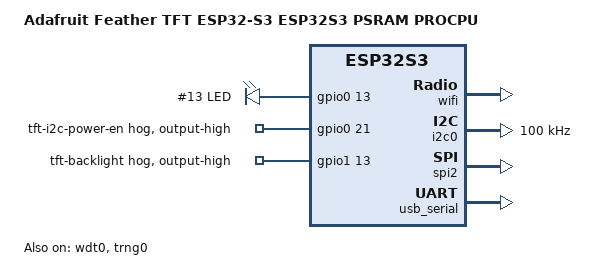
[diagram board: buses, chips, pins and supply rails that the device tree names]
/*
 * Copyright (c) 2022 Espressif Systems (Shanghai) Co., Ltd.
 * Copyright (c) 2025 Sam Blenny
 *
 * SPDX-License-Identifier: Apache-2.0
 *
 * Derived from zephyr/boards/espressif/esp32s3_devkitm
 * Modifications by Sam Blenny to work with Feather TFT ESP32-S3
 *
 * For ESP32-S3 pinctrl selectors, see:
 *   https://github.com/zephyrproject-rtos/zephyr/blob/main/include/zephyr/dt-bindings/pinctrl/esp32s3-pinctrl.h
 * For espressif soc dtsi files, see:
 *   https://github.com/zephyrproject-rtos/zephyr/tree/main/dts/xtensa/espressif/esp32s3
 */
/dts-v1/;

#include <espressif/esp32s3/esp32s3_mini_n4r2.dtsi>
#include <zephyr/dt-bindings/input/input-event-codes.h>
#include <zephyr/dt-bindings/input/esp32-touch-sensor-input.h>
#include <espressif/partitions_0x0_amp.dtsi>
#include "feather_tft_esp32s3-pinctrl.dtsi"
#include "feather_connector.dtsi"
#include "mipi_st7789v.dtsi"
#include "buttons.dtsi"

/ {
	model = "Adafruit Feather TFT ESP32-S3 ESP32S3 PSRAM PROCPU";
	compatible = "espressif,esp32s3";

	aliases {
		i2c-0 = &i2c0;
		watchdog0 = &wdt0;
	};

	chosen {
		zephyr,sram = &sram1;
		zephyr,console = &usb_serial;
		zephyr,shell-uart = &usb_serial;
		zephyr,flash = &flash0;
		zephyr,code-partition = &slot0_partition;
	};

	leds {
		compatible = "gpio-leds";
		led: led_0 {
			gpios = <&gpio0 13 GPIO_ACTIVE_HIGH>;
			label = "#13 LED";
		};
	};

	aliases {
		uart-0 = &usb_serial;
		led0 = &led;
	};
};

&wifi {
	status = "okay";
};

&uart0 {
	status = "disabled";
	current-speed = <115200>;
	pinctrl-0 = <&uart0_default>;
	pinctrl-names = "default";
};

/* GPIO pins 0..31 */
&gpio0 {
	status = "okay";

	/* GPIO21 is the Feather TFT ESP23-S3 TFT_I2C_POWER enable pin */
	tft-i2c-power-en {
		gpio-hog;
		gpios = <21 GPIO_ACTIVE_HIGH>;
		output-high;
	};
};

/* GPIO pins 32..45 -> &gpio1 0 .. &gpio1 13 */
&gpio1 {
	status = "okay";

	/* GPIO45 (&gpio1 13) is Feather TFT backlight pin */
	tft-backlight {
		gpio-hog;
		gpios = <13 GPIO_ACTIVE_HIGH>;
		output-high;
	};
};

&i2c0 {
	clock-frequency = <I2C_BITRATE_STANDARD>;
	pinctrl-0 = <&i2c0_default>;
	pinctrl-names = "default";
};

&spi2 {
	#address-cells = <1>;
	#size-cells = <0>;
	status = "okay";
	cs-gpios = <&gpio0 7 GPIO_ACTIVE_LOW>;  /* TFT_CS */
	pinctrl-0 = <&spim2_default>;
	pinctrl-names = "default";
};

&timer0 {
	status = "disabled";
};

&timer1 {
	status = "disabled";
};

&timer2 {
	status = "disabled";
};

&timer3 {
	status = "disabled";
};

&wdt0 {
	status = "okay";
};

&trng0 {
	status = "okay";
};

&usb_serial {
	status = "okay";
};
